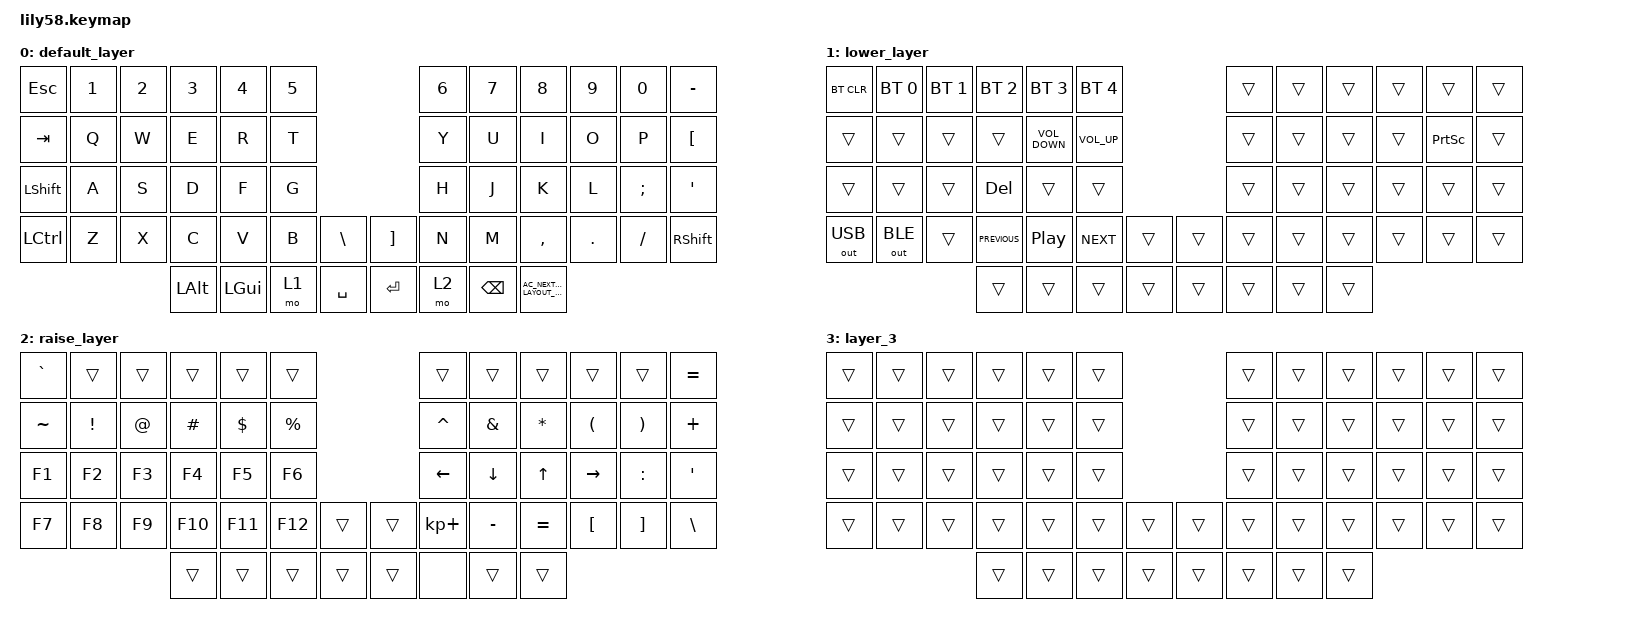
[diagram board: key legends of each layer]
/*
 * Copyright (c) 2020 The ZMK Contributors
 *
 * SPDX-License-Identifier: MIT
 */

#include <behaviors.dtsi>
#include <dt-bindings/zmk/bt.h>
#include <dt-bindings/zmk/keys.h>
#include <dt-bindings/zmk/outputs.h>

/ {
    combos {
        compatible = "zmk,combos";

        combo_esc {
            timeout-ms = <50>;
            key-positions = <0 1>;
            bindings = <&kp ESC>;
        };
    };

    behaviors {
        ss_hs_modmorph: ss_hs_modmorph {
            compatible = "zmk,behavior-mod-morph";
            label = "SS_HS_MODMORPH";
            bindings = <&kp M>, <&kp RIGHT_BRACKET>;

            #binding-cells = <0>;
            mods = <(MOD_LSFT|MOD_RSFT)>;
        };

        kh_hs_tapdance: kh_hs_tapdance {
            compatible = "zmk,behavior-tap-dance";
            label = "KH_HS_TAPDANCE";
            #binding-cells = <0>;
            tapping-term-ms = <200>;
            bindings = <&kp LEFT_BRACKET>, <&kp RIGHT_BRACKET>;
        };

        hrm: hrm {
            compatible = "zmk,behavior-hold-tap";
            #binding-cells = <2>;
            flavor = "tap-preferred";
            tapping-term-ms = <200>;
            quick-tap-ms = <200>;
            require-prior-idle-ms = <125>;
            bindings = <&kp>, <&kp>;
        };
    };

    keymap {
        compatible = "zmk,keymap";

        default_layer {
            // ------------------------------------------------------------------------------------------------------------
            // |  ESC  |  1  |  2  |  3   |  4   |  5   |                   |  6   |  7    |  8    |  9   |   0   |   `   |
            // |  TAB  |  Q  |  W  |  E   |  R   |  T   |                   |  Y   |  U    |  I    |  O   |   P   |   -   |
            // |  CTRL |  A  |  S  |  D   |  F   |  G   |                   |  H   |  J    |  K    |  L   |   ;   |   '   |
            // | SHIFT |  Z  |  X  |  C   |  V   |  B   |   "["  |  |  "]"  |  N   |  M    |  ,    |  .   |   /   | SHIFT |
            //                     | ALT  | GUI  | LOWER|  SPACE |  | ENTER | RAISE| BSPC  | GUI   |

            bindings = <
&kp ESC           &kp N1  &kp N2  &kp N3    &kp N4    &kp N5                         &kp N6  &kp N7    &kp N8                                &kp N9   &kp N0    &kp MINUS
&kp TAB           &kp Q   &kp W   &kp E     &kp R     &kp T                          &kp Y   &kp U     &kp I                                 &kp O    &kp P     &kp LEFT_BRACKET
&kp LEFT_SHIFT    &kp A   &kp S   &kp D     &kp F     &kp G                          &kp H   &kp J     &kp K                                 &kp L    &kp SEMI  &kp APOSTROPHE
&kp LEFT_CONTROL  &kp Z   &kp X   &kp C     &kp V     &kp B   &kp BSLH     &kp RBKT  &kp N   &kp M     &kp COMMA                             &kp DOT  &kp FSLH  &kp RIGHT_SHIFT
                                  &kp LALT  &kp LGUI  &mo 1   &kp SPACE    &kp RET   &mo 2   &kp BSPC  &kp C_AC_NEXT_KEYBOARD_LAYOUT_SELECT
            >;
        };

        lower_layer {
            // ------------------------------------------------------------------------------------------------------------
            // | BTCLR | BT1 | BT2 |  BT3 |  BT4 |  BT5 |                   |      |       |       |      |       |       |
            // |  F1   |  F2 |  F3 |  F4  |  F5  |  F6  |                   |  F7  |  F8   |  F9   |  F10 |  F11  |  F12  |
            // |   `   |  !  |  @  |  #   |  $   |  %   |                   |  ^   |  &    |  *    |  (   |   )   |   ~   |
            // |       |     |     |      |      |      |        |  |       |      |  _    |  +    |  {   |   }   |  "|"  |
            //                     |      |      |      |        |  |       |      |       |       |

            bindings = <
&bt BT_CLR    &bt BT_SEL 0  &bt BT_SEL 1  &bt BT_SEL 2    &bt BT_SEL 3       &bt BT_SEL 4                       &trans  &trans  &trans  &trans  &trans           &trans
&trans        &trans        &trans        &trans          &kp C_VOLUME_DOWN  &kp C_VOLUME_UP                    &trans  &trans  &trans  &trans  &kp PRINTSCREEN  &trans
&trans        &trans        &trans        &kp DELETE      &trans             &trans                             &trans  &trans  &trans  &trans  &trans           &trans
&out OUT_USB  &out OUT_BLE  &trans        &kp C_PREVIOUS  &kp C_PLAY_PAUSE   &kp C_NEXT       &trans    &trans  &trans  &trans  &trans  &trans  &trans           &trans
                                          &trans          &trans             &trans           &trans    &trans  &trans  &trans  &trans
            >;
        };

        raise_layer {
            // ------------------------------------------------------------------------------------------------------------
            // |       |     |     |      |      |      |                   |      |       |       |      |       |       |
            // |   `   |  1  |  2  |  3   |  4   |  5   |                   |  6   |   7   |   8   |  9   |   0   |       |
            // |   F1  |  F2 |  F3 |  F4  |  F5  |  F6  |                   |      |   <-  |   v   |  ^   |  ->   |       |
            // |   F7  |  F8 |  F9 |  F10 |  F11 |  F12 |        |  |       |  +   |   -   |   =   |  [   |   ]   |   \   |
            //                     |      |      |      |        |  |       |      |       |       |

            bindings = <
&kp GRAVE  &trans           &trans       &trans    &trans      &trans                         &trans          &trans          &trans        &trans                &trans                 &kp EQUAL
&kp TILDE  &kp EXCLAMATION  &kp AT_SIGN  &kp HASH  &kp DOLLAR  &kp PERCENT                    &kp CARET       &kp AMPERSAND   &kp ASTERISK  &kp LEFT_PARENTHESIS  &kp RIGHT_PARENTHESIS  &kp PLUS
&kp F1     &kp F2           &kp F3       &kp F4    &kp F5      &kp F6                         &kp LEFT_ARROW  &kp DOWN_ARROW  &kp UP_ARROW  &kp RIGHT_ARROW       &kp COLON              &kp SINGLE_QUOTE
&kp F7     &kp F8           &kp F9       &kp F10   &kp F11     &kp F12      &trans    &trans  &kp KP_PLUS     &kp MINUS       &kp EQUAL     &kp LBKT              &kp RBKT               &kp BSLH
                                         &trans    &trans      &trans       &trans    &trans  &none           &trans          &trans
            >;
        };

        layer_3 {
            bindings = <
&trans  &trans  &trans  &trans  &trans  &trans                    &trans  &trans  &trans  &trans  &trans  &trans
&trans  &trans  &trans  &trans  &trans  &trans                    &trans  &trans  &trans  &trans  &trans  &trans
&trans  &trans  &trans  &trans  &trans  &trans                    &trans  &trans  &trans  &trans  &trans  &trans
&trans  &trans  &trans  &trans  &trans  &trans  &trans    &trans  &trans  &trans  &trans  &trans  &trans  &trans
                        &trans  &trans  &trans  &trans    &trans  &trans  &trans  &trans
            >;
        };
    };
};
